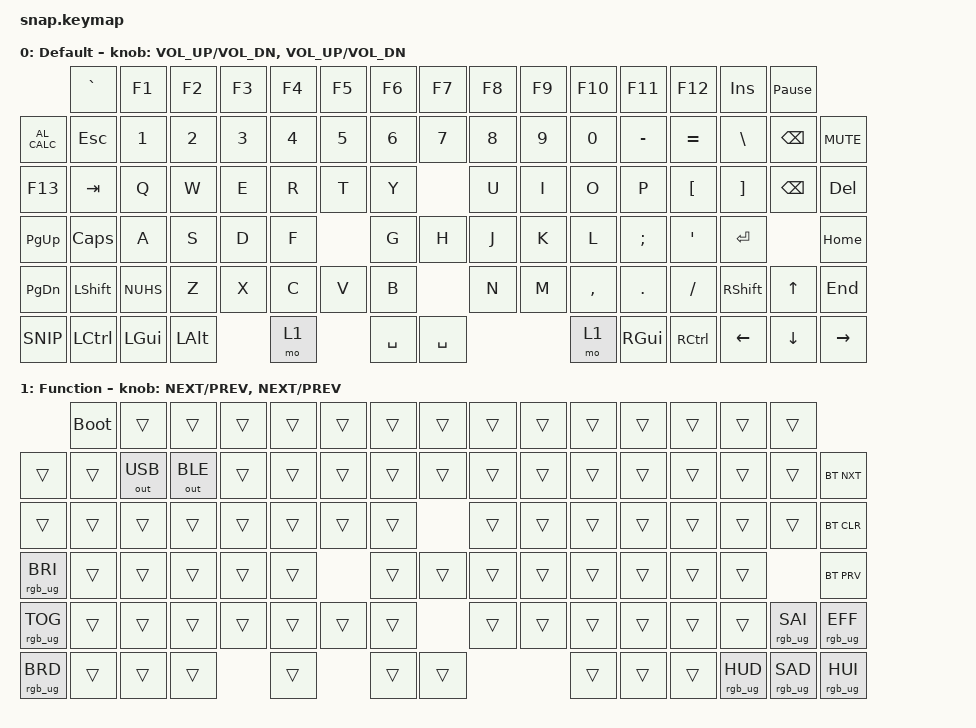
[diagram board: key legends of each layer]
/*
 * Copyright (c) 2022 The ZMK Contributors
 *
 * SPDX-License-Identifier: MIT
 */

#include <behaviors.dtsi>
#include <dt-bindings/zmk/bt.h>
#include <dt-bindings/zmk/outputs.h>
#include <dt-bindings/zmk/keys.h>
#include <dt-bindings/zmk/rgb.h>

/ {
	sensors {
		compatible = "zmk,keymap-sensors";
		sensors = <&left_encoder &right_encoder>;
	};
	
	macros {
        SNIP: SNIP {
            label = "SNIP";
            compatible = "zmk,behavior-macro";
            #binding-cells = <0>;
            bindings
                = <&macro_press &kp LSHFT &kp LGUI>
                , <&macro_tap &kp S>
		, <&macro_release &kp LGUI &kp LSHFT>
                ;
        };
    };
	
	keymap {
		compatible = "zmk,keymap";

		default_layer {
			label = "Default";
			sensor-bindings = <&inc_dec_kp C_VOL_UP C_VOL_DN &inc_dec_kp C_VOL_UP C_VOL_DN>;
			bindings = <
              &kp GRAVE   &kp F1   &kp F2   &kp F3   &kp F4   &kp F5   &kp F6     &kp F7   &kp F8   &kp F9    &kp F10  &kp F11     &kp F12     &kp INS	    &kp PAUSE_BREAK
&kp C_AL_CALC &kp ESC     &kp N1   &kp N2   &kp N3   &kp N4   &kp N5   &kp N6     &kp N7   &kp N8   &kp N9    &kp N0   &kp MINUS   &kp EQUAL   &kp BSLH     &kp BSPC    &kp C_MUTE
&kp F13       &kp TAB     &kp Q    &kp W    &kp E    &kp R             &kp T      &kp Y    &kp U    &kp I     &kp O    &kp P       &kp LBKT    &kp RBKT     &kp BSPC   &kp DEL
&kp PG_UP     &kp CLCK    &kp A    &kp S    &kp D    &kp F             &kp G      &kp H    &kp J    &kp K     &kp L    &kp SEMI    &kp SQT     &kp RET                 &kp HOME
&kp PG_DN     &kp LSHFT   &kp NUHS &kp Z    &kp X    &kp C    &kp V    &kp B      &kp N    &kp M    &kp COMMA &kp DOT  &kp FSLH    &kp RSHFT                &kp UP     &kp END
&SNIP         &kp LCTRL   &kp LGUI &kp LALT          &mo 1            &kp SPACE    &kp SPACE                  &mo 1    &kp RGUI    &kp RCTRL   &kp LEFT     &kp DOWN   &kp RIGHT
			>;
		};

		function_layer {
			label = "Function";
			sensor-bindings = <&inc_dec_kp C_NEXT C_PREV &inc_dec_kp C_NEXT C_PREV>;
			bindings = <
             	&bootloader &trans   &trans   &trans   &trans   &trans   &trans     &trans   &trans   &trans   &trans    &trans      &trans      &trans	      &trans
&trans       &trans &out OUT_USB &out OUT_BLE &trans   &trans   &trans   &trans     &trans   &trans   &trans   &trans    &trans      &trans      &trans       &trans     &bt BT_NXT
&trans       	&trans      &trans   &trans   &trans   &trans            &trans     &trans   &trans   &trans   &trans    &trans      &trans      &trans       &trans     &bt BT_CLR
&rgb_ug RGB_BRI &trans      &trans   &trans   &trans   &trans            &trans     &trans   &trans   &trans   &trans    &trans      &trans      &trans     		&bt BT_PRV
&rgb_ug RGB_TOG &trans      &trans   &trans   &trans   &trans   &trans   &trans     &trans   &trans   &trans   &trans    &trans      &trans 		      &rgb_ug RGB_SAI &rgb_ug RGB_EFF
&rgb_ug RGB_BRD &trans      &trans   &trans            &trans           &trans       &trans                    &trans    &trans      &trans    &rgb_ug RGB_HUD &rgb_ug RGB_SAD &rgb_ug RGB_HUI
			>;
		};
	};
};
